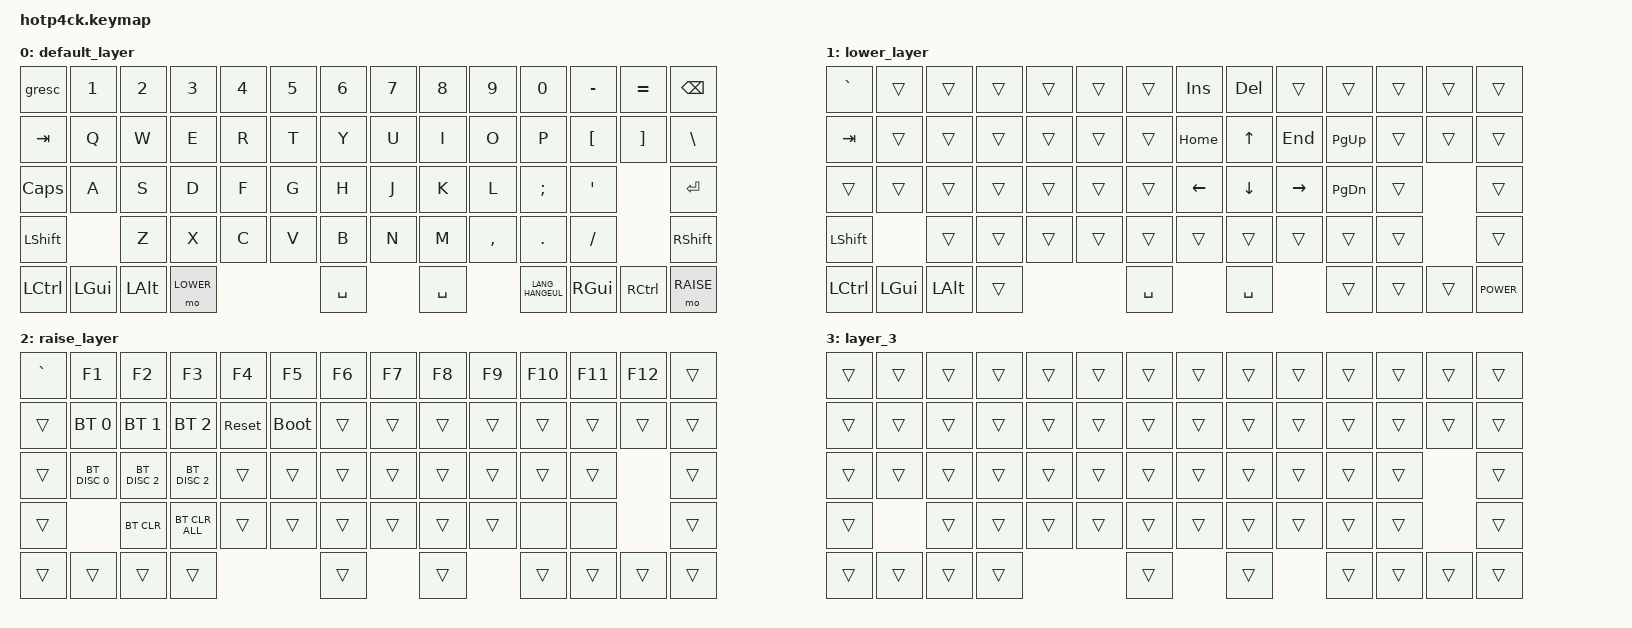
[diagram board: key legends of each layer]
/*
 * Copyright (c) 2021 Nick Winans
 *
 * SPDX-License-Identifier: MIT
 */

#include <behaviors.dtsi>
#include <dt-bindings/zmk/bt.h>
#include <dt-bindings/zmk/keys.h>

#define DEFAULT 0
#define NONE 0
#define LOWER 1
#define RAISE 2

/ {
    keymap {
        compatible = "zmk,keymap";

        default_layer {
            // ------------------------------------------------------------------------------------------
            // | ESC |  1  |  2  |  3  |  4  |  5  |  6  |  7  |  8  |  9  |  0  |  -  |  =  |   BKSP   |
            // | TAB  |  Q  |  W  |  E  |  R  |  T  |  Y  |  U  |  I  |  O  |  P  |  [  |  ]  |   "|"   |
            // |  CAPS  |  A  |  S  |  D  |  F  |  G  |  H  |  J  |  K  |  L  |  ;  |  '  |    ENTER    |
            // |  SHIFT  |  Z  |  X  |  C  |  V  |  B  |  N  |  M  |  ,  |  .  |  /  |      SHIFT       |
            // |  CTL  |  WIN  |  ALT  |  MO(1)  |    SPACE    |  BAR  |  ALT  |  WIN  | CTL |  MO(2)  |
            // ------------------------------------------------------------------------------------------

            bindings = <
&gresc     &kp N1    &kp N2    &kp N3     &kp N4  &kp N5  &kp N6     &kp N7  &kp N8     &kp N9     &kp N0            &kp MINUS  &kp EQUAL  &kp BSPC
&kp TAB    &kp Q     &kp W     &kp E      &kp R   &kp T   &kp Y      &kp U   &kp I      &kp O      &kp P             &kp LBKT   &kp RBKT   &kp BSLH
&kp CLCK   &kp A     &kp S     &kp D      &kp F   &kp G   &kp H      &kp J   &kp K      &kp L      &kp SEMI          &kp SQT               &kp RET
&kp LSHFT            &kp Z     &kp X      &kp C   &kp V   &kp B      &kp N   &kp M      &kp COMMA  &kp DOT           &kp FSLH              &kp RSHFT
&kp LCTRL  &kp LGUI  &kp LALT  &mo LOWER                  &kp SPACE          &kp SPACE             &kp LANG_HANGEUL  &kp RGUI   &kp RCTRL  &mo RAISE
            >;
        };

        lower_layer {
            //------------------------------------------------------------------------------------------
            //| grave |     |     |     |     |     |     | INS | DEL |     |     |     |     |   BKSP   |
            //|  TAB  |     |     |     |     |     |     | HOME |  UP  | END | PG_U |     |     |     |
            //|       |     |     |     |     |     |     | LEFT | DOWN | RIGHT | PG_D |     |         |
            //|  SHIFT  |     |     |     |     |     |     |     |     |     |     |                  |
            //|  CRL  |  WIN  |  ALT  |      |    SPACE    |   BAR   |       |       |       | K_POWER |
            //------------------------------------------------------------------------------------------

            bindings = <
&kp GRAVE  &trans    &trans    &trans  &trans  &trans  &trans     &kp INS   &kp DEL    &trans     &trans     &trans  &trans  &trans
&kp TAB    &trans    &trans    &trans  &trans  &trans  &trans     &kp HOME  &kp UP     &kp END    &kp PG_UP  &trans  &trans  &trans
&trans     &trans    &trans    &trans  &trans  &trans  &trans     &kp LEFT  &kp DOWN   &kp RIGHT  &kp PG_DN  &trans          &trans
&kp LSHFT            &trans    &trans  &trans  &trans  &trans     &trans    &trans     &trans     &trans     &trans          &trans
&kp LCTRL  &kp LGUI  &kp LALT  &trans                  &kp SPACE            &kp SPACE             &trans     &trans  &trans  &kp K_POWER
            >;
        };

        raise_layer {
            // ------------------------------------------------------------------------------------------
            // |     | F 1 | F 2 | F 3 | F 4 | F 5 | F 6 | F 7 | F 8 | F 9 | F10 | F11 | F12 |          |
            // |      | OBT0 | OBT1 | OBT2 | sys | boot |     |      |      |     |      |     |     |      |
            // |       | CBT0 | CBT1 | CBT2 |     |     |        |      |      |       |      |     |         |
            // |         | CLR | CRL_ALL |     |     |     |     |     |     |     |     |                  |
            // |       |       |       |        |             |         |       |       |       |       |
            // ------------------------------------------------------------------------------------------

            bindings = <
&kp GRAVE  &kp F1         &kp F2         &kp F3          &kp F4      &kp F5       &kp F6  &kp F7  &kp F8  &kp F9  &kp F10  &kp F11  &kp F12  &trans
&trans     &bt BT_SEL 0   &bt BT_SEL 1   &bt BT_SEL 2    &sys_reset  &bootloader  &trans  &trans  &trans  &trans  &trans   &trans   &trans   &trans
&trans     &bt BT_DISC 0  &bt BT_DISC 2  &bt BT_DISC 2   &trans      &trans       &trans  &trans  &trans  &trans  &trans   &trans            &trans
&trans                    &bt BT_CLR     &bt BT_CLR_ALL  &trans      &trans       &trans  &trans  &trans  &trans  &none    &none             &trans
&trans     &trans         &trans         &trans                                   &trans          &trans          &trans   &trans   &trans   &trans
            >;
        };

        layer_3 {
            bindings = <
&trans  &trans  &trans  &trans  &trans  &trans  &trans  &trans  &trans  &trans  &trans  &trans  &trans  &trans
&trans  &trans  &trans  &trans  &trans  &trans  &trans  &trans  &trans  &trans  &trans  &trans  &trans  &trans
&trans  &trans  &trans  &trans  &trans  &trans  &trans  &trans  &trans  &trans  &trans  &trans          &trans
&trans          &trans  &trans  &trans  &trans  &trans  &trans  &trans  &trans  &trans  &trans          &trans
&trans  &trans  &trans  &trans                  &trans          &trans          &trans  &trans  &trans  &trans
            >;
        };
    };
};
